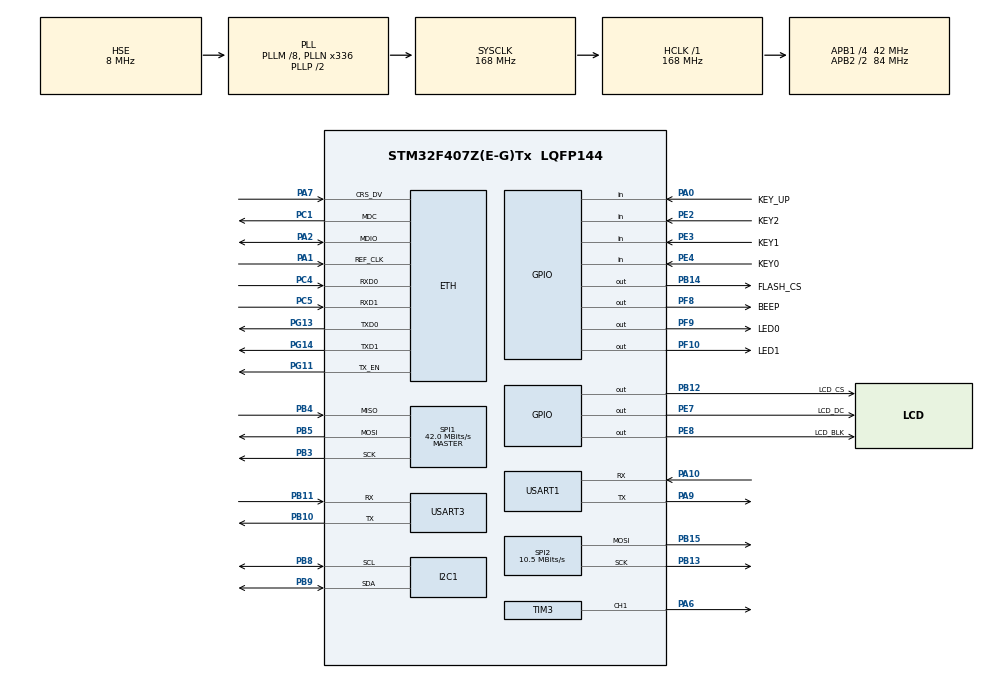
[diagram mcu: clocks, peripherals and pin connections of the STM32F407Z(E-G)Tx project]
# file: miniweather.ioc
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Dma.Request0=USART3_RX
Dma.USART3_RX.0.Direction=DMA_PERIPH_TO_MEMORY
Dma.USART3_RX.0.FIFOMode=DMA_FIFOMODE_DISABLE
Dma.USART3_RX.0.Instance=DMA1_Stream1
Dma.USART3_RX.0.MemDataAlignment=DMA_MDATAALIGN_BYTE
Dma.USART3_RX.0.MemInc=DMA_MINC_ENABLE
Dma.USART3_RX.0.Mode=DMA_CIRCULAR
Dma.USART3_RX.0.PeriphDataAlignment=DMA_PDATAALIGN_BYTE
Dma.USART3_RX.0.PeriphInc=DMA_PINC_DISABLE
Dma.USART3_RX.0.Priority=DMA_PRIORITY_HIGH
ETH.MediaInterface=HAL_ETH_RMII_MODE
ETH.RxMode=ETH_RXINTERRUPT_MODE
FREERTOS.Queues01=Queuesesor,4,uint16_t,0,Dynamic,NULL,NULL
FREERTOS.Tasks01=defaultTask,0,128,StartDefaultTask,Default,NULL,Dynamic,NULL,NULL;tasksensor,2,512,StartTasksensor,Default,NULL,Dynamic,NULL,NULL;Taskdisplay,1,512,StartTaskdisplay,Default,NULL,Dynamic,NULL,NULL;Taskcomm,0,1024,StartTaskcomm,Default,NULL,Dynamic,NULL,NULL
FREERTOS.configUSE_IDLE_HOOK=1
LWIP.Version=v2.1.2_Cube
Mcu.Family=STM32F4
Mcu.Name=STM32F407Z(E-G)Tx
Mcu.Package=LQFP144
NVIC.DMA1_Stream1_IRQn=true\:6\:0\:true\:false\:true\:true\:false\:true\:true
NVIC.ETH_IRQn=true\:5\:0\:false\:false\:true\:true\:false\:true\:true
NVIC.PriorityGroup=NVIC_PRIORITYGROUP_4
NVIC.TIM2_IRQn=true\:15\:0\:false\:false\:true\:false\:false\:true\:true
NVIC.TimeBase=TIM2_IRQn
NVIC.TimeBaseIP=TIM2
NVIC.USART3_IRQn=true\:6\:0\:true\:false\:true\:true\:true\:true\:true
PA0-WKUP.GPIO_Label=KEY_UP
PA0-WKUP.GPIO_PuPd=GPIO_PULLDOWN
PA0-WKUP.Signal=GPIO_Input
PA1.Mode=RMII
PA1.Signal=ETH_REF_CLK
PA10.Mode=Asynchronous
PA10.Signal=USART1_RX
PA13.Mode=Serial_Wire
PA13.Signal=SYS_JTMS-SWDIO
PA14.Mode=Serial_Wire
PA14.Signal=SYS_JTCK-SWCLK
PA2.Mode=RMII
PA2.Signal=ETH_MDIO
PA6.Signal=S_TIM3_CH1
PA7.Mode=RMII
PA7.Signal=ETH_CRS_DV
PA9.Mode=Asynchronous
PA9.Signal=USART1_TX
PB10.Mode=Asynchronous
PB10.Signal=USART3_TX
PB11.Mode=Asynchronous
PB11.Signal=USART3_RX
PB12.GPIO_Label=LCD_CS
PB12.GPIO_Speed=GPIO_SPEED_FREQ_HIGH
PB12.Signal=GPIO_Output
PB13.Mode=TX_Only_Simplex_Unidirect_Master
PB13.Signal=SPI2_SCK
PB14.GPIO_Label=FLASH_CS
PB14.GPIO_Speed=GPIO_SPEED_FREQ_HIGH
PB14.Signal=GPIO_Output
PB15.Mode=TX_Only_Simplex_Unidirect_Master
PB15.Signal=SPI2_MOSI
PB3.Mode=Full_Duplex_Master
PB3.Signal=SPI1_SCK
PB4.Mode=Full_Duplex_Master
PB4.Signal=SPI1_MISO
PB5.Mode=Full_Duplex_Master
PB5.Signal=SPI1_MOSI
PB8.Mode=I2C
PB8.Signal=I2C1_SCL
PB9.Mode=I2C
PB9.Signal=I2C1_SDA
PC1.Mode=RMII
PC1.Signal=ETH_MDC
PC4.Mode=RMII
PC4.Signal=ETH_RXD0
PC5.Mode=RMII
PC5.Signal=ETH_RXD1
PE2.GPIO_Label=KEY2
PE2.GPIO_PuPd=GPIO_PULLUP
PE2.Signal=GPIO_Input
PE3.GPIO_Label=KEY1
PE3.GPIO_PuPd=GPIO_PULLUP
PE3.Signal=GPIO_Input
PE4.GPIO_Label=KEY0
PE4.GPIO_PuPd=GPIO_PULLUP
PE4.Signal=GPIO_Input
PE7.GPIO_Label=LCD_DC
PE7.GPIO_Speed=GPIO_SPEED_FREQ_HIGH
PE7.Signal=GPIO_Output
PE8.GPIO_Label=LCD_BLK
PE8.GPIO_Speed=GPIO_SPEED_FREQ_HIGH
PE8.Signal=GPIO_Output
PF10.GPIO_Label=LED1
PF10.Signal=GPIO_Output
PF8.GPIO_Label=BEEP
PF8.Signal=GPIO_Output
PF9.GPIO_Label=LED0
PF9.Signal=GPIO_Output
PG11.Mode=RMII
PG11.Signal=ETH_TX_EN
PG13.Mode=RMII
PG13.Signal=ETH_TXD0
PG14.Mode=RMII
PG14.Signal=ETH_TXD1
PH0-OSC_IN.Mode=HSE-External-Oscillator
PH0-OSC_IN.Signal=RCC_OSC_IN
PH1-OSC_OUT.Mode=HSE-External-Oscillator
PH1-OSC_OUT.Signal=RCC_OSC_OUT
ProjectManager.HeapSize=0x200
ProjectManager.StackSize=0x400
ProjectManager.TargetToolchain=MDK-ARM V5.32
RCC.48MHZClocksFreq_Value=48000000
RCC.AHBFreq_Value=168000000
RCC.APB1CLKDivider=RCC_HCLK_DIV4
RCC.APB1Freq_Value=42000000
RCC.APB1TimFreq_Value=84000000
RCC.APB2CLKDivider=RCC_HCLK_DIV2
RCC.APB2Freq_Value=84000000
RCC.APB2TimFreq_Value=168000000
RCC.CortexFreq_Value=168000000
RCC.HCLKFreq_Value=168000000
RCC.HSE_VALUE=8000000
RCC.HSI_VALUE=16000000
RCC.LSE_VALUE=32768
RCC.PLLM=8
RCC.PLLN=336
RCC.PLLQ=7
RCC.PLLSourceVirtual=RCC_PLLSOURCE_HSE
RCC.SYSCLKFreq_VALUE=168000000
RCC.SYSCLKSource=RCC_SYSCLKSOURCE_PLLCLK
RCC.VCOOutputFreq_Value=336000000
SH.S_TIM3_CH1.0=TIM3_CH1,PWM Generation1 CH1
SPI1.CalculateBaudRate=42.0 MBits/s
SPI1.Direction=SPI_DIRECTION_2LINES
SPI1.Mode=SPI_MODE_MASTER
SPI1.VirtualType=VM_MASTER
SPI2.BaudRatePrescaler=SPI_BAUDRATEPRESCALER_4
SPI2.CalculateBaudRate=10.5 MBits/s
SPI2.Direction=SPI_DIRECTION_2LINES
SPI2.Mode=SPI_MODE_MASTER
SPI2.VirtualType=VM_MASTER
TIM3.Channel-PWM\ Generation1\ CH1=TIM_CHANNEL_1
TIM3.Period=19999
TIM3.Prescaler=83
TIM3.Pulse-PWM\ Generation1\ CH1=1500
USART1.VirtualMode=VM_ASYNC
USART3.VirtualMode=VM_ASYNC
VP_FREERTOS_VS_CMSIS_V1.Mode=CMSIS_V1
VP_LWIP_VS_Enabled.Mode=Enabled
VP_SYS_VS_tim2.Mode=TIM2
board=custom

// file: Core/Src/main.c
/* [约束] IWDG：LSI / Prescaler 64 / Reload 2000 约 4.0s，必须在 osKernelStart() 之前启动。
 * [约束] 搭配 Bootloader 时必须 SCB->VTOR = 0x08010000，并在开头 __enable_irq()。
 * [约束] 时钟：HSE 8MHz -> PLLM 8 / PLLN 336 / PLLP 2 -> SYSCLK 168MHz，
 *        HCLK 168MHz，APB1 42MHz，APB2 84MHz。
 * [约束] 顺序：delay_init -> LCD_Init；ESP8266_Init() -> Comm_Init()。
 * [约束] ESP8266_BootCapture() 必须尽早调用（模块上电约 300ms 吐完 bootlog）。
 * [约束] USART1(CH340) 仅用于 printf，自定义协议跑在 USART3，发错口必然超时。
 */
/* USER CODE BEGIN Header */
/**
  ******************************************************************************
  * @file           : main.c
  * @brief          : Main program body
  ******************************************************************************
  * @attention
  * Copyright (c) 2026 STMicroelectronics.
  * All rights reserved.
  * This software is licensed under terms that can be found in the LICENSE file
  * in the root directory of this software component.
  * If no LICENSE file comes with this software, it is provided AS-IS.
  ******************************************************************************
  */
/* USER CODE END Header */
#include "main.h"          // HAL 库主头文件，所有 HAL 函数的入口
#include "cmsis_os.h"      // FreeRTOS CMSIS 封装层，提供 osThread/osDelay 等 API
#include "dma.h"           // DMA 配置（USART3_RX 用的 DMA1_Stream1）
#include "i2c.h"           // I2C1 配置（PB8/PB9，接 24C02 + QMA6100P）
#include "lwip.h"          // lwIP TCP/IP 协议栈（以太网通信用）
#include "spi.h"           // SPI1(W25Q128) + SPI2(ILI9341 LCD) 配置
#include "tim.h"           // TIM3 PWM 配置（PA6，舵机控制 50Hz）
#include "usart.h"         // USART1(调试串口) + USART3(ESP8266 AT 通信) 配置
#include "gpio.h"          // 所有 GPIO 引脚配置（LED/按键/蜂鸣器/LCD CS/Flash CS）

/* USER CODE BEGIN Includes */
#include "delay.h"
#include "lcd.h"            /* LCD 驱动（LCD_Init / LCD_Clear / ...）*/
#include "lcd_test.h"       /* LCD 上电自检 + mini-weather 界面预览 */
#include "shtc3.h"          /* SHTC3 温湿度 */
#include "bmp280.h"         /* BMP280 / BME280 气压 */
#include "sgp30.h"          /* SGP30 CO2 当量 + TVOC */
#include "servo.h"          /* 舵机（TIM3_CH1 = PA6）*/
#include "beep.h"           /* 板载蜂鸣器（PF8）*/
#include "relay.h"          /* 继电器（PE5）*/
#include "key.h"            /* 4 个板载按键 */
#include "led.h"            /* LED0/LED1 */
#include "w25q128.h"        /* 板载 SPI Flash（SPI1）*/
#include "esp8266.h"        /* ESP8266 Wi-Fi（USART3，AT 指令）*/
#include "app.h"            /* 应用层：上电自检 + 界面 + 按键 + 自动控制 */
#include "comm.h"           /* 自定义协议落地层（USART3 + 协议 + OTA）*/
#include <stdio.h>
/* USER CODE END Includes */

/* USER CODE BEGIN PV */

/* 独立看门狗句柄（定义在这里，main.h 里 extern 出去给 comm.c 用） */
IWDG_HandleTypeDef hiwdg;

/* USER CODE END PV */

void SystemClock_Config(void);
void MX_FREERTOS_Init(void);
/* USER CODE BEGIN PFP */

/* IWDG 初始化（手写，没走 CubeMX，因为 CubeMX 会在 SystemCoreClock
   之后、用户代码之前插入它，那时传感器还没初始化完，容易误判超时） */

/* USER CODE END PFP */

/* USER CODE BEGIN 0 */

#ifndef APP_BOOT_TRACE
#define APP_BOOT_TRACE          1
#endif

#if (APP_WITH_BOOTLOADER != 0) && (APP_BOOT_TRACE != 0)
/* 往 USART1 的发送数据寄存器塞一个字符，然后等它发完 */
#define BOOT_TRACE(c)  do {                          \
        USART1->DR = (uint16_t)(uint8_t)(c);         \
        while ((USART1->SR & USART_SR_TC) == 0u) { } \
    } while (0)
#else
#define BOOT_TRACE(c)  ((void)0)
#endif

/*
   原 AT24C02 读写测试已删除（24C02 那一步已经验过了）。
   需要时从《第3节-LCD接线与上电自检.md》第八节附录里粘回来即可。
   这次换成 LCD 上电自检：实际代码在 BSP/Src/lcd_test.c。
    */

void MX_IWDG_Init(void)
{
    hiwdg.Instance       = IWDG;
    hiwdg.Init.Prescaler = IWDG_PRESCALER_64;
    hiwdg.Init.Reload    = 2000u;              /* ≈ 4.00 s @ LSI 32 kHz */
    /* 注意：F4 的 IWDG_InitTypeDef 只有 Prescaler / Reload 两个字段，
       没有 Window —— 窗口模式是 F7/L4 之后才集成进 IWDG 的。
       这里写 hiwdg.Init.Window 会报 "struct has no field Window"。
       F4 想用窗口功能得上 WWDG，本项目不需要。 */

    if (HAL_IWDG_Init(&hiwdg) != HAL_OK)
    {
        printf("[IWDG  ] Init FAILED\r\n");
        return;
    }

    /* 调试时冻结 IWDG：内核被调试器停下时计数器也停，不会误复位 */
    __HAL_DBGMCU_FREEZE_IWDG();

    printf("[IWDG  ] started, timeout ~4000 ms (LSI)\r\n");
}

/* 喂狗。空闲任务每轮调一次，comm.c 的长阻塞路径（擦 Flash / 切 Bank）
   在进去之前也手动调一次。 */
void IWDG_Feed(void)
{
    HAL_IWDG_Refresh(&hiwdg);
}

/* USER CODE END 0 */

int main(void)
{

  /* USER CODE BEGIN 1 */

#if APP_WITH_BOOTLOADER
  SCB->VTOR = FLASH_BASE | 0x00010000u;

  __enable_irq();
#endif

  BOOT_TRACE('1');      /* 1 = 进 main 了（向量表 / MSP / scatter loading 都正常） */

  /* USER CODE END 1 */

  /* MCU Configuration--------------------------------------------------------*/

  /* HAL 库初始化：配置 NVIC 优先级分组、SysTick（但 SysTick 会被 FreeRTOS 接管） */
  HAL_Init();
  BOOT_TRACE('2');      /* 2 = HAL_Init 过了（时基 TIM2 已配） */

  /* 系统时钟配置：HSE 8MHz → PLL → 168MHz
     这是整个系统的心脏，时钟配错所有外设都会异常 */
  SystemClock_Config();
  BOOT_TRACE('3');      /* 3 = HSE 起振 + PLL 锁定成功 */

  MX_GPIO_Init();       // 1. GPIO 引脚（LED/按键/蜂鸣器/LCD CS/Flash CS）
  BOOT_TRACE('4');      /* 4 = GPIO 初始化过了 */
  MX_DMA_Init();        // 2. DMA 控制器（必须在使用 DMA 的外设之前）
  MX_I2C1_Init();       // 3. I2C1（PB8/PB9，接 24C02 + QMA6100P）
  MX_SPI2_Init();       // 4. SPI2（PB13/PB15，接 ILI9341 LCD）
  MX_TIM3_Init();       // 5. TIM3 PWM（PA6，舵机 50Hz）
  MX_USART1_UART_Init();// 6. USART1（PA9/PA10，调试串口 115200）
  BOOT_TRACE('5');      /* 5 = 调试串口重配完成，后面交给 printf */
  MX_USART3_UART_Init();// 7. USART3（PB10/PB11，ESP8266 AT 通信 115200）

  ESP8266_BootCapture(ESP_CAPTURE_BOOTLOG_MS);

  MX_SPI1_Init();       // 8. SPI1（PB3/PB4/PB5，W25Q128 Flash）
  /* USER CODE BEGIN 2 */

  /* 延时初始化（软件 I2C 和测试需要 delay_us/delay_ms） */
  delay_init(168);

  /* 点亮 LED0 表示程序已启动 */
  HAL_GPIO_WritePin(LED0_GPIO_Port, LED0_Pin, GPIO_PIN_RESET);

  HAL_Delay(1000);
  printf("\r\n\r\n>>>>>> MiniWeather 启动 <<<<<<\r\n");
  LCD_Init();

  /*
     传感器 + 执行器初始化
     ⚠️ 必须在 MX_I2C1_Init() / MX_TIM3_Init() 之后（外设时钟已开）
     串口会打印每个器件的初始化结果，接线有问题一眼就能看出来
      */
  {
      uint8_t ret, bmp_id = 0;

      ret = SHTC3_Init();
      printf("[SHTC3 ] Init %s\r\n", (ret == 0) ? "OK" : "FAIL(1=复位失败 2=唤醒失败)");

      ret = BMP280_Init();
      if (ret == 0)
      {
          BMP280_ReadID(&bmp_id);
          printf("[BMP280] Init OK, id=0x%02X -> %s\r\n",
                 bmp_id, BMP280_IsBME280() ? "BME280" : "BMP280");
      }
      else
      {
          printf("[BMP280] Init FAIL, ret=%u (1=ID不对 2=通信失败 3=校准读失败)\r\n",
                 (unsigned int)ret);
      }

      ret = SGP30_Init();
      printf("[SGP30 ] Init %s (预热 15 秒内读数固定 400/0，属正常)\r\n",
             (ret == 0) ? "OK" : "FAIL(通信失败)");

      Servo_Init();        /* 舵机：启动 50Hz PWM，舵机置停止/中位 */
      BEEP_Init();         /* 蜂鸣器：确保上电不响 */
      RELAY_Init();        /* 继电器：默认断开 */
      printf("[ACTUAT] servo / beep / relay ready\r\n");

      KEY_Init();          /* 按键（引脚由 CubeMX 配好，这里只清状态） */
      LED_Init();          /* LED：上电先灭，由程序决定什么时候亮 */
      W25Q128_Init();      /* 板载 SPI Flash：片选拉高 + 唤醒 */
      {
          uint32_t fid = W25Q128_ReadID();
          printf("[W25Q128] id = 0x%06lX -> %s (%s)\r\n", (unsigned long)fid,
                 W25Q128_IDName(fid), W25Q128_IDIsValid(fid) ? "OK" : "BAD");
      }
  }

  {
      uint8_t ret = ESP8266_Init();
      const char *txt = (ret == 0) ? "OK, passthrough" :
                        (ret == 1) ? "no module (check P2 jumper)" :
                        (ret == 2) ? "WiFi join fail (check SSID/PWD)" :
                        (ret == 5) ? "CONFIG NOT SET -> edit WIFI_SSID/WIFI_PWD in esp8266.h" :
                                     "TCP connect fail (check server)";
      printf("[ESP8266] %s\r\n", txt);
  }

#if ESP_PROOF_LINK
  /*
     链路自证：逐条发 AT，把每条收到的【原始响应字节】全打出来。
     ⚠️ 必须放在 Comm_Init()/ESP8266_HandOver() 【之前】 —— 那之后 USART3
        就归协议栈的 DMA 循环接收了，AT 驱动不能再轮询读，会直接返回 4。
      */
  ESP8266_ProofLink();
#endif

  Comm_Init();
  ESP8266_HandOver();     /* ★ 告诉 AT 驱动：USART3 归协议栈了，别再轮询读它 */
  printf("[COMM  ] protocol ready, USART3 DMA RX @115200\r\n");

  /*
     硬件自检（9 项）
     结果同时打到串口(USART1) 和 LCD。会动作执行器（继电器咔哒、
     蜂鸣器短响一声、舵机转一下），这是正常的，不是故障。
     ⚠️ 必须在 RTOS 启动前跑：里面用了 delay_ms 和擦 Flash
      */
  {
      uint8_t total = 0;
      uint8_t pass  = APP_SelfTest(&total);
      printf("[SELFTEST] %u/%u passed\r\n", (unsigned int)pass, (unsigned int)total);
  }

  /* 自检结束，LED1 常亮表示"外设自检通过，准备进 RTOS" */
  HAL_GPIO_WritePin(LED1_GPIO_Port, LED1_Pin, GPIO_PIN_RESET);

  /* USER CODE END 2 */

  MX_IWDG_Init();

  /* 注意：FreeRTOS 启动后软件 I2C 会被硬件 I2C 覆盖
     正式项目中传感器用硬件 I2C（HAL_I2C_Master_Transmit 等） */

  /* Call init function for freertos objects (in cmsis_os2.c) */
  MX_FREERTOS_Init();

  /* 启动 FreeRTOS 调度器，之后控制权交给 RTOS，main 函数不会再返回 */
  osKernelStart();

  /* We should never get here as control is now taken by the scheduler */

  /* Infinite loop */
  while (1)
  {

  }
}

void SystemClock_Config(void)
{
  RCC_OscInitTypeDef RCC_OscInitStruct = {0};
  RCC_ClkInitTypeDef RCC_ClkInitStruct = {0};

  /* 电源时钟使能 + 电压调节器配置
     F407 在 168MHz 必须用 Scale1 模式（最高电压），否则不稳定 */
  __HAL_RCC_PWR_CLK_ENABLE();
  __HAL_PWR_VOLTAGESCALING_CONFIG(PWR_REGULATOR_VOLTAGE_SCALE1);

  RCC_OscInitStruct.OscillatorType = RCC_OSCILLATORTYPE_HSE;
  RCC_OscInitStruct.HSEState = RCC_HSE_ON;
  RCC_OscInitStruct.PLL.PLLState = RCC_PLL_ON;
  RCC_OscInitStruct.PLL.PLLSource = RCC_PLLSOURCE_HSE;
  RCC_OscInitStruct.PLL.PLLM = 8;
  RCC_OscInitStruct.PLL.PLLN = 336;
  RCC_OscInitStruct.PLL.PLLP = RCC_PLLP_DIV2;
  RCC_OscInitStruct.PLL.PLLQ = 7;
  if (HAL_RCC_OscConfig(&RCC_OscInitStruct) != HAL_OK)
  {
    Error_Handler();
  }

  RCC_ClkInitStruct.ClockType = RCC_CLOCKTYPE_HCLK|RCC_CLOCKTYPE_SYSCLK
                              |RCC_CLOCKTYPE_PCLK1|RCC_CLOCKTYPE_PCLK2;
  RCC_ClkInitStruct.SYSCLKSource = RCC_SYSCLKSOURCE_PLLCLK;
  RCC_ClkInitStruct.AHBCLKDivider = RCC_SYSCLK_DIV1;
  RCC_ClkInitStruct.APB1CLKDivider = RCC_HCLK_DIV4;
  RCC_ClkInitStruct.APB2CLKDivider = RCC_HCLK_DIV2;

  if (HAL_RCC_ClockConfig(&RCC_ClkInitStruct, FLASH_LATENCY_5) != HAL_OK)
  {
    Error_Handler();
  }
}

/* TIM2 周期中断回调：每 1ms 触发一次 HAL_IncTick()
   因为 FreeRTOS 接管了 SysTick，所以 HAL 库的时基改用 TIM2
   这个函数让 HAL_Delay() / HAL_GetTick() 能正常工作 */
void HAL_TIM_PeriodElapsedCallback(TIM_HandleTypeDef *htim)
{
  if (htim->Instance == TIM2)
  {
    HAL_IncTick();
  }
}

void Error_Handler(void)
{
  __disable_irq();
  while (1)
  {
  }
}

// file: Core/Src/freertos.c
/* 任务栈与优先级：defaultTask(Normal,128) / TaskSensor(High,512) /
 * TaskDisplay(AboveNormal,512) / TaskComm(Normal,1024)
 * [约束] 栈大小单位是「字」不是字节；configTOTAL_HEAP_SIZE = 15360。
 * [约束] osThreadCreate() 返回值必须检查：heap 不足返回 NULL，不报错、直接进 HardFault。
 * [约束] 喂狗在 vApplicationIdleHook()：该函数禁止阻塞、禁止 printf、禁止等信号量。
 * [约束] 传感器数据结构必须清零初始化，否则会用栈垃圾当真值。
 * [约束] TaskComm 周期 5ms；n==0 时也要调用 Proto_Tick。
 * [约束] 禁止在 stm32f4xx_it.c 手写 SysTick_Handler / SVC / PendSV（FreeRTOSConfig.h 已宏改名）。
 */
/* USER CODE BEGIN Header */
/**
  ******************************************************************************
  * File Name          : freertos.c
  * Description        : Code for freertos applications
  ******************************************************************************
  * @attention
  * Copyright (c) 2026 STMicroelectronics.
  * All rights reserved.
  * This software is licensed under terms that can be found in the LICENSE file
  * in the root directory of this software component.
  * If no LICENSE file comes with this software, it is provided AS-IS.
  ******************************************************************************
  */
/* USER CODE END Header */

#include "FreeRTOS.h"
#include "task.h"
#include "main.h"
#include "cmsis_os.h"

/* USER CODE BEGIN Includes */
#include "comm.h"           /* 自定义协议落地层：Comm_Poll / Comm_UpdateSensor */
#include "ai_client.h"      /* AI 顾问：AI_Report() 上行采样 JSON */
#include "servo.h"          /* 舵机非阻塞状态机：Servo_Tick */
#include "beep.h"           /* 蜂鸣器非阻塞状态机：BEEP_AlarmTick */
#include "app.h"            /* 应用层：显示 / 按键 / 自动控制 / 基线管理 */
#include "esp8266.h"        /* Wi-Fi 状态维护：ESP8266_Process */
#include "shtc3.h"
#include "bmp280.h"
#include "sgp30.h"
#include <stdio.h>
#include <string.h>
/* USER CODE END Includes */

/* USER CODE BEGIN PM */

#define CHECK_TASK(h, name)  do {                                             \
        if ((h) == NULL) {                                                    \
            printf("[FATAL] 任务 %s 创建失败：FreeRTOS heap 不足\r\n", (name));\
            Error_Handler();                                                  \
        }                                                                     \
    } while (0)

/* USER CODE END PM */

/* ========== FreeRTOS 任务句柄 ==========
   每个任务都有一个句柄，用于后续控制（挂起、恢复、删除等）
*/
osThreadId defaultTaskHandle;     // 默认任务：初始化 lwIP，然后空转
osThreadId tasksensorHandle;      // 传感器采集任务：读 SHTC3/BMP280/SGP30，最高优先级
osThreadId TaskdisplayHandle;     // 显示任务：刷新 LCD 屏幕
osThreadId TaskcommHandle;        // 通信任务：ESP8266 AT + MQTT + LLM，栈最大(1024)
osMessageQId QueuesesorHandle;    // 传感器数据队列：采集任务→显示/通信任务

void StartDefaultTask(void const * argument);
void StartTasksensor(void const * argument);
void StartTaskdisplay(void const * argument);
void StartTaskcomm(void const * argument);

extern void MX_LWIP_Init(void);
void MX_FREERTOS_Init(void); /* (MISRA C 2004 rule 8.1) */

/* GetIdleTaskMemory prototype (linked to static allocation support) */
void vApplicationGetIdleTaskMemory( StaticTask_t **ppxIdleTaskTCBBuffer, StackType_t **ppxIdleTaskStackBuffer, uint32_t *pulIdleTaskStackSize );

/* Hook prototypes */
void vApplicationIdleHook(void);

/* USER CODE BEGIN 2 */
/* Idle Hook（空闲任务钩子）
   当所有任务都在等待时，FreeRTOS 调用这个函数
   注意：这个函数绝不能阻塞（不能 osDelay、不能 xQueueReceive）
   用途：后面在这里喂看门狗（HAL_IWDG_Refresh），因为只有系统没死锁才会进入空闲 */
__weak void vApplicationIdleHook( void )
{

   IWDG_Feed();
}
/* USER CODE END 2 */

/* USER CODE BEGIN GET_IDLE_TASK_MEMORY */
static StaticTask_t xIdleTaskTCBBuffer;
static StackType_t xIdleStack[configMINIMAL_STACK_SIZE];

void vApplicationGetIdleTaskMemory( StaticTask_t **ppxIdleTaskTCBBuffer, StackType_t **ppxIdleTaskStackBuffer, uint32_t *pulIdleTaskStackSize )
{
  *ppxIdleTaskTCBBuffer = &xIdleTaskTCBBuffer;
  *ppxIdleTaskStackBuffer = &xIdleStack[0];
  *pulIdleTaskStackSize = configMINIMAL_STACK_SIZE;
  /* place for user code */
}
/* USER CODE END GET_IDLE_TASK_MEMORY */

void MX_FREERTOS_Init(void) {

#ifndef USE_SENSOR_QUEUE
#define USE_SENSOR_QUEUE        0
#endif
#if USE_SENSOR_QUEUE
  osMessageQDef(Queuesesor, 4, uint16_t);
  QueuesesorHandle = osMessageCreate(osMessageQ(Queuesesor), NULL);
#endif

  /* definition and creation of defaultTask */
  osThreadDef(defaultTask, StartDefaultTask, osPriorityNormal, 0, 128);
  defaultTaskHandle = osThreadCreate(osThread(defaultTask), NULL);
  CHECK_TASK(defaultTaskHandle, "defaultTask");

  /* definition and creation of tasksensor */
  osThreadDef(tasksensor, StartTasksensor, osPriorityHigh, 0, 512);
  tasksensorHandle = osThreadCreate(osThread(tasksensor), NULL);
  CHECK_TASK(tasksensorHandle, "tasksensor");

  /* definition and creation of Taskdisplay */
  osThreadDef(Taskdisplay, StartTaskdisplay, osPriorityAboveNormal, 0, 512);
  TaskdisplayHandle = osThreadCreate(osThread(Taskdisplay), NULL);
  CHECK_TASK(TaskdisplayHandle, "Taskdisplay");

  /* definition and creation of Taskcomm */
  osThreadDef(Taskcomm, StartTaskcomm, osPriorityNormal, 0, 1024);
  TaskcommHandle = osThreadCreate(osThread(Taskcomm), NULL);
  CHECK_TASK(TaskcommHandle, "Taskcomm");

}

/* defaultTask：初始化 lwIP（以太网协议栈），然后空转
   lwIP 必须在 RTOS 任务里初始化，因为它依赖 osDelay/信号量等 RTOS API
   初始化完成后这个任务就没什么事了，osDelay(1) 让出 CPU */
void StartDefaultTask(void const * argument)
{
  /* init code for LWIP */
  MX_LWIP_Init();
  for(;;)
  {
    osDelay(1);
  }
}

void StartTasksensor(void const * argument)
{
  /* USER CODE BEGIN StartTasksensor */
  /* ⚠️ 周期 1000ms：SGP30 手册 6.3 要求每 1 秒发一次 0x2008，
       否则内部动态基线算法退化（不报错，只是读数越来越飘）。 */
  uint32_t        sec = 0;
  SHTC3_Data_t    th  = {0};
  BMP280_Data_t   bp  = {0};
  SGP30_Data_t    air = {0};
  SensorSnapshot_t snap;
  uint8_t         th_valid = 0;   /* SHTC3 至少成功读过一次才允许做湿度补偿 */
  uint8_t         ai_once  = 0;   /* AI 顾问"上电首发"标记：0=还没发过第一次 */

  memset(&snap, 0, sizeof(snap));

  for(;;)
  {
    /* ① 维护运行秒数（心跳命令和显示都要用） */
    Comm_SetUptime(sec);
    APP_SetUptime(sec);

    /* ② 读温湿度。失败时保留上一次的值并标记 —— 不要用 0 覆盖，
          否则屏幕会闪一下 0.0℃，比"数据没更新"更难看 */
    if (SHTC3_Read(&th) == 0) {
        snap.temp_01 = (int16_t)(th.temperature * 10.0f);
        snap.humi_01 = (uint16_t)(th.humidity   * 10.0f);
        th_valid = 1;                       /* 拿到过真数据，才允许往下做补偿 */
    } else {
        printf("[SHTC3 ] read fail\r\n");
    }

    /* ③ 读气压 */
    if (BMP280_Read(&bp) == 0) {
        snap.press_pa = (uint32_t)bp.pressure;
    } else {
        printf("[BMP280] read fail\r\n");
    }

    /* ④ 读 CO₂ 当量 / TVOC */
    if (SGP30_Read(&air) == 0) {
        snap.co2_ppm  = air.co2;
        snap.tvoc_ppb = air.tvoc;

        /* 湿度补偿：MOx 传感器对水汽敏感，不补偿 CO₂ 读数会偏高。
           每 10 秒写一次就够（温度变化没那么快），省 I2C 带宽 */
        /* ★ 判据必须是 th_valid（"真的读到过"），不能是 snap.humi_01 != 0：
           后者在 SHTC3 一直失败时可能仍是上一轮残留的非零值，
           而 th 里装的其实是未初始化的栈数据。 */
        if ((sec % 10u) == 0u && th_valid) {
            SGP30_SetAbsoluteHumidity(th.humidity, th.temperature);
        }
    } else {
        printf("[SGP30 ] read fail\r\n");
    }

    /* ⑤ 基线存/取（上电恢复 + 每小时保存） */
    APP_BaselineTick(sec);

    /* ⑥ 交给协议层。Comm_UpdateSensor 内部进临界区整块拷贝，
          协议任务读到的永远是一份完整快照，不会被读到"半新半旧" */
    if (snap.tick == 0xFFFFFFFFu) snap.tick = 1;
    else                          snap.tick++;
    Comm_UpdateSensor(&snap);

    {
        /* C90 要求声明在块首，这里正好是块首 */
        OtaState st   = Comm_GetOtaState();
        uint8_t  busy = (st == OTA_ERASING) || (st == OTA_READY) || (st == OTA_RECEIVING);

        if (!busy)
        {
            if (ai_once == 0u)
            {
                if ((sec >= 1u) && (ESP8266_IsPassthrough() || (sec >= 30u)))
                {
                    AI_Report(&snap);
                    ai_once = 1u;       /* 只发这一次，之后交给下面的周期逻辑 */
                }
            }
            else if ((sec != 0u) && ((sec % AI_REPORT_PERIOD_S) == 0u))
            {
                AI_Report(&snap);
            }
        }
    }

    sec++;
    osDelay(1000);
  }
  /* USER CODE END StartTasksensor */
}

void StartTaskdisplay(void const * argument)
{
  /* USER CODE BEGIN StartTaskdisplay */
  /* 这个任务实际上承担了三件事（都只需要 500ms 级刷新，合并省一个栈）：
       ① 刷 LCD
       ② 扫按键（消抖 10ms，500ms 扫一次足够跟手）
       ③ 跑自动控制决策（阈值判断 + 执行器动作）          */
  for(;;)
  {
    APP_Display();
    APP_KeyPoll();
    APP_CtrlTick();

    osDelay(500);
  }
  /* USER CODE END StartTaskdisplay */
}

void StartTaskcomm(void const * argument)
{
  /* USER CODE BEGIN StartTaskcomm */
  uint32_t cnt  = 0;    /* 10ms 节拍计数（蜂鸣器 / 舵机状态机） */
  uint32_t cnt2 = 0;    /* 5 秒节拍计数（Wi-Fi 状态维护） */
  for(;;)
  {
    Comm_Poll();                    /* 取字节 → 解帧 → 处理命令 → 回应答 */

    if (++cnt >= 2) {               /* 5ms × 2 = 10ms */
      cnt = 0;
      BEEP_AlarmTick();
      Servo_Tick();
    }

    if (++cnt2 >= 1000) {           /* 5ms × 1000 = 5s */
      cnt2 = 0;
      ESP8266_Process();            /* 透传态下会直接返回，不影响数据流 */
    }

    osDelay(COMM_TASK_PERIOD_MS);
  }
  /* USER CODE END StartTaskcomm */
}
